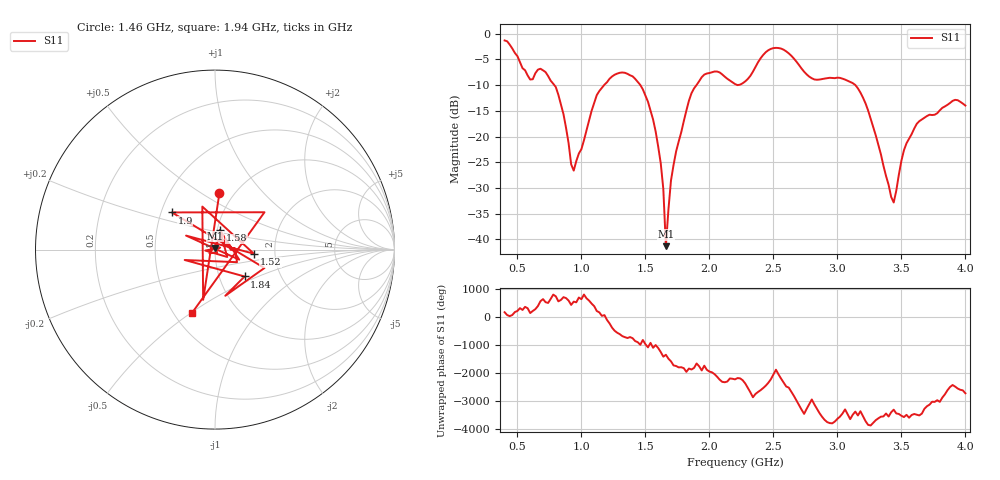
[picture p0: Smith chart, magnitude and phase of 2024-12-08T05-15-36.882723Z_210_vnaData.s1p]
!Created with skrf (http://scikit-rf.org).
# Hz S RI R 50.0
!freq ReS11 ImS11
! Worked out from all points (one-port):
!   181 points, 400 MHz to 4 GHz, reference 50 ohm
!   lowest |S11| = -41.3 dB at 1.66 GHz (marker M1), VSWR 1.02, Z = 50 + j0.857 ohm
!   |S11| at or under -10 dB: 788.3 MHz to 1.177 GHz (388.9 MHz wide, 39.6 % of centre); 1.461 GHz to 1.899 GHz (438.3 MHz wide, 26.1 % of centre); 3.141 GHz to end of sweep
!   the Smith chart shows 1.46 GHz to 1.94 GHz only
!   S11 on the Smith chart (normalised r, x): 1.46 GHz: 0.86, +0.60; 1.52 GHz: 1.55, -0.08; 1.58 GHz: 1.03, +0.23; 1.84 GHz: 1.32, -0.42; 1.9 GHz: 0.57, +0.26; 1.94 GHz: 0.61, -0.51
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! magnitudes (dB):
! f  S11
! 400 MHz  -1.3
! 600 MHz  -8.9
! 720 MHz  -7.5
! 860 MHz  -15.7
! 940 MHz  -26.6
! 1.12 GHz  -11.9
! 1.3 GHz  -7.6
! 1.46 GHz  -10.0
! 1.52 GHz  -13.2
! 1.58 GHz  -19.0
! 1.64 GHz  -30.2
! 1.66 GHz  -41.3
! 1.7 GHz  -28.5
! 1.76 GHz  -21.0
! 1.84 GHz  -13.0
! 1.9 GHz  -10.0
! 1.94 GHz  -8.5
! 2.2 GHz  -9.8
! 2.48 GHz  -3.0
! 2.66 GHz  -4.8
! 2.82 GHz  -8.9
! 3.1 GHz  -9.4
! 3.24 GHz  -14.9
! 3.44 GHz  -32.8
! 3.5 GHz  -24.7
! 3.56 GHz  -20.4
! 3.9 GHz  -13.1
! 4 GHz  -14.0
